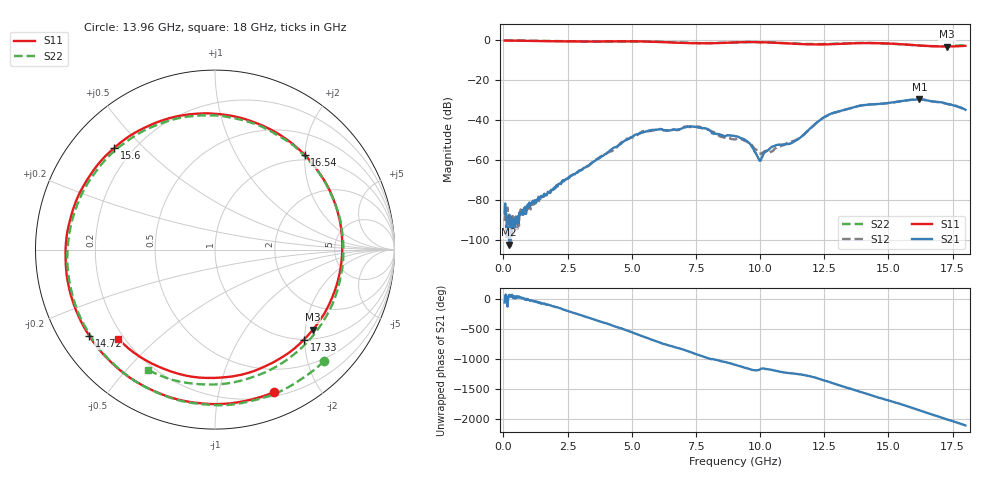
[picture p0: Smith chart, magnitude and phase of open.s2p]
!Agilent Technologies,E8364A,US41440284,A.06.04.32
!Agilent E8364A: A.06.04.32
!Date: Friday, December 06, 2019 10:33:37
!Correction: S11(Full 2 Port(1,2)) S21(Full 2 Port(1,2)) S12(Full 2 Port(1,2)) S22(Full 2 Port(1,2))
!S2P File: Measurements: S11, S21, S12, S22:
# Hz S  MA  R 50
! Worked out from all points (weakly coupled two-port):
!   801 points, 45 MHz to 18 GHz, reference 50 ohm
!   highest |S21| = -29.49 dB at 16.2 GHz (marker M1); lowest = -102.5 dB at 224.6 MHz (marker M2)
!   lowest |S11| = -3.0 dB at 17.28 GHz (marker M3), VSWR 5.77, Z = 61.8 - j110 ohm
!   |S11| at or under -10 dB: nowhere
!   |S22| runs from -2.9 to 0.0 dB; largest |S21 - S12| = 0.00098
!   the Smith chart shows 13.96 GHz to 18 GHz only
!   S11 on the Smith chart (normalised r, x): 13.96 GHz: 0.24, -1.47; 14.72 GHz: 0.09, -0.31; 15.6 GHz: 0.13, +0.41; 16.54 GHz: 0.89, +2.00; 17.33 GHz: 1.00, -1.98; 18 GHz: 0.18, -0.38
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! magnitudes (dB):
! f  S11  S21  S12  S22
! 45 MHz  0.0  -86.5  -90.4  0.0
! 224.6 MHz  -0.1  -102.5  -87.4  0.0
! 1.347 GHz  -0.3  -79.2  -79.9  -0.2
! 3.052 GHz  -0.5  -64.7  -64.8  -0.5
! 4.781 GHz  -0.4  -50.0  -49.6  -0.4
! 6.037 GHz  -0.7  -44.6  -44.3  -0.7
! 7.609 GHz  -1.4  -43.8  -43.2  -1.3
! 9.023 GHz  -0.9  -48.0  -49.7  -1.0
! 9.539 GHz  -0.8  -51.0  -51.2  -0.8
! 10.01 GHz  -0.8  -60.4  -56.9  -0.8
! 11.42 GHz  -1.7  -50.0  -49.7  -1.6
! 12.03 GHz  -2.0  -43.2  -43.3  -1.8
! 12.75 GHz  -1.9  -36.8  -36.9  -1.7
! 13.96 GHz  -1.3  -32.6  -32.5  -1.2
! 14.72 GHz  -1.4  -31.7  -31.7  -1.4
! 15.01 GHz  -1.5  -31.3  -31.4  -1.5
! 15.6 GHz  -2.0  -30.2  -30.3  -2.0
! 16.2 GHz  -2.5  -29.5  -29.5  -2.5
! 16.54 GHz  -2.8  -30.1  -30.2  -2.8
! 17.28 GHz  -3.0  -31.7  -31.8  -2.8
! 17.33 GHz  -3.0  -31.8  -31.9  -2.8
! 18 GHz  -2.7  -34.8  -34.8  -2.3
